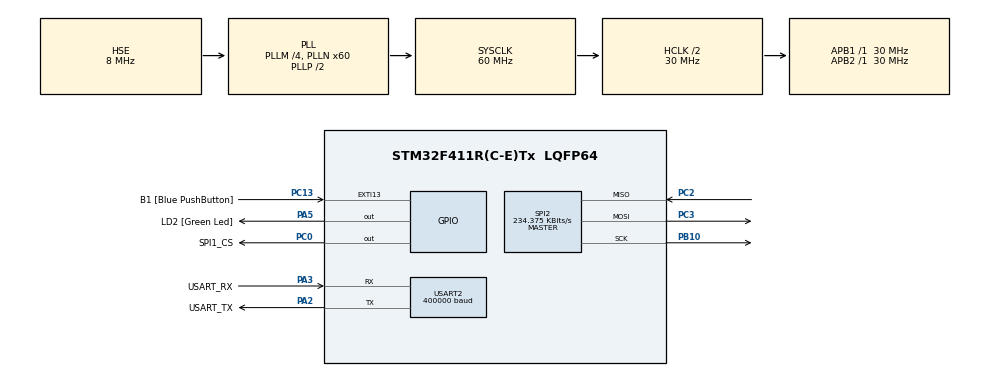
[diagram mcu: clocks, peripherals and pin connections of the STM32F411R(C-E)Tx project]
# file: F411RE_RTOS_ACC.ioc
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Dma.Request0=SPI2_RX
Dma.Request1=SPI2_TX
Dma.SPI2_RX.0.Direction=DMA_PERIPH_TO_MEMORY
Dma.SPI2_RX.0.FIFOMode=DMA_FIFOMODE_DISABLE
Dma.SPI2_RX.0.Instance=DMA1_Stream3
Dma.SPI2_RX.0.MemDataAlignment=DMA_MDATAALIGN_BYTE
Dma.SPI2_RX.0.MemInc=DMA_MINC_ENABLE
Dma.SPI2_RX.0.Mode=DMA_NORMAL
Dma.SPI2_RX.0.PeriphDataAlignment=DMA_PDATAALIGN_BYTE
Dma.SPI2_RX.0.PeriphInc=DMA_PINC_DISABLE
Dma.SPI2_RX.0.Priority=DMA_PRIORITY_LOW
Dma.SPI2_TX.1.Direction=DMA_MEMORY_TO_PERIPH
Dma.SPI2_TX.1.FIFOMode=DMA_FIFOMODE_DISABLE
Dma.SPI2_TX.1.Instance=DMA1_Stream4
Dma.SPI2_TX.1.MemDataAlignment=DMA_MDATAALIGN_BYTE
Dma.SPI2_TX.1.MemInc=DMA_MINC_ENABLE
Dma.SPI2_TX.1.Mode=DMA_NORMAL
Dma.SPI2_TX.1.PeriphDataAlignment=DMA_PDATAALIGN_BYTE
Dma.SPI2_TX.1.PeriphInc=DMA_PINC_DISABLE
Dma.SPI2_TX.1.Priority=DMA_PRIORITY_LOW
FREERTOS.BinarySemaphores01=sem_SPI_DMA,Dynamic,NULL;sem_processing,Dynamic,NULL;sem_sampling,Dynamic,NULL
FREERTOS.Tasks01=mainTask,24,512,taskMain,Default,NULL,Dynamic,NULL,NULL;sampling,8,512,samplingTask,Default,NULL,Dynamic,NULL,NULL
FREERTOS.configUSE_NEWLIB_REENTRANT=1
Mcu.Family=STM32F4
Mcu.Name=STM32F411R(C-E)Tx
Mcu.Package=LQFP64
NVIC.DMA1_Stream3_IRQn=true\:5\:0\:false\:false\:true\:true\:false\:true\:true
NVIC.DMA1_Stream4_IRQn=true\:5\:0\:false\:false\:true\:true\:false\:true\:true
NVIC.EXTI15_10_IRQn=true\:5\:0\:false\:false\:true\:true\:true\:true\:true
NVIC.PriorityGroup=NVIC_PRIORITYGROUP_4
NVIC.TIM1_UP_TIM10_IRQn=true\:5\:0\:false\:false\:true\:true\:true\:true\:true
PA13.GPIO_Label=TMS
PA13.Mode=Serial_Wire
PA13.Signal=SYS_JTMS-SWDIO
PA14.GPIO_Label=TCK
PA14.Mode=Serial_Wire
PA14.Signal=SYS_JTCK-SWCLK
PA2.GPIO_Label=USART_TX
PA2.Mode=Asynchronous
PA2.Signal=USART2_TX
PA3.GPIO_Label=USART_RX
PA3.Mode=Asynchronous
PA3.Signal=USART2_RX
PA5.GPIO_Label=LD2 [Green Led]
PA5.Signal=GPIO_Output
PB10.Mode=Full_Duplex_Master
PB10.Signal=SPI2_SCK
PB3.GPIO_Label=SWO
PB3.Signal=SYS_JTDO-SWO
PC0.GPIO_Label=SPI1_CS
PC0.Signal=GPIO_Output
PC13-ANTI_TAMP.GPIO_Label=B1 [Blue PushButton]
PC13-ANTI_TAMP.GPIO_ModeDefaultEXTI=GPIO_MODE_IT_FALLING
PC13-ANTI_TAMP.Signal=GPXTI13
PC14-OSC32_IN.Mode=LSE-External-Oscillator
PC14-OSC32_IN.Signal=RCC_OSC32_IN
PC15-OSC32_OUT.Mode=LSE-External-Oscillator
PC15-OSC32_OUT.Signal=RCC_OSC32_OUT
PC2.Mode=Full_Duplex_Master
PC2.Signal=SPI2_MISO
PC3.Mode=Full_Duplex_Master
PC3.Signal=SPI2_MOSI
PH0\ -\ OSC_IN.Mode=HSE-External-Clock-Source
PH0\ -\ OSC_IN.Signal=RCC_OSC_IN
PH1\ -\ OSC_OUT.Mode=HSE-External-Clock-Source
PH1\ -\ OSC_OUT.Signal=RCC_OSC_OUT
ProjectManager.HeapSize=0x200
ProjectManager.StackSize=0x400
ProjectManager.TargetToolchain=STM32CubeIDE
RCC.48MHZClocksFreq_Value=30000000
RCC.AHBCLKDivider=RCC_SYSCLK_DIV2
RCC.AHBFreq_Value=30000000
RCC.APB1Freq_Value=30000000
RCC.APB1TimFreq_Value=30000000
RCC.APB2Freq_Value=30000000
RCC.APB2TimFreq_Value=30000000
RCC.CortexFreq_Value=30000000
RCC.FLatency-AdvancedSettings=FLASH_LATENCY_0
RCC.HCLKFreq_Value=30000000
RCC.HSE_VALUE=8000000
RCC.HSI_VALUE=16000000
RCC.PLLM=4
RCC.PLLN=60
RCC.PLLSourceVirtual=RCC_PLLSOURCE_HSE
RCC.SYSCLKFreq_VALUE=60000000
RCC.SYSCLKSource=RCC_SYSCLKSOURCE_PLLCLK
RCC.VCOOutputFreq_Value=120000000
SPI2.BaudRatePrescaler=SPI_BAUDRATEPRESCALER_128
SPI2.CalculateBaudRate=234.375 KBits/s
SPI2.Direction=SPI_DIRECTION_2LINES
SPI2.Mode=SPI_MODE_MASTER
SPI2.VirtualType=VM_MASTER
TIM10.AutoReloadPreload=TIM_AUTORELOAD_PRELOAD_ENABLE
TIM10.Period=58593
TIM10.Prescaler=0
USART2.BaudRate=400000
USART2.VirtualMode=VM_ASYNC
VP_FREERTOS_VS_CMSIS_V2.Mode=CMSIS_V2
VP_TIM10_VS_ClockSourceINT.Mode=Enable_Timer
board=NUCLEO-F411RE

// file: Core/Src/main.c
/* USER CODE BEGIN Header */
/**
  ******************************************************************************
  * @file           : main.c
  * @brief          : Main program body
  ******************************************************************************
  * @attention
  *
  * Copyright (c) 2023 STMicroelectronics.
  * All rights reserved.
  *
  * This software is licensed under terms that can be found in the LICENSE file
  * in the root directory of this software component.
  * If no LICENSE file comes with this software, it is provided AS-IS.
  *
  ******************************************************************************
  */
/* USER CODE END Header */
#include "main.h"
#include "cmsis_os.h"

/* USER CODE BEGIN Includes */
#include <stdio.h>
#include <string.h>
#include <stdarg.h>
#include "ADXL355.h"
#include <math.h>
/* USER CODE END Includes */

SPI_HandleTypeDef hspi2;
DMA_HandleTypeDef hdma_spi2_rx;
DMA_HandleTypeDef hdma_spi2_tx;

TIM_HandleTypeDef htim10;

UART_HandleTypeDef huart2;

/* Definitions for mainTask */
osThreadId_t mainTaskHandle;
const osThreadAttr_t mainTask_attributes = {
  .name = "mainTask",
  .stack_size = 512 * 4,
  .priority = (osPriority_t) osPriorityNormal,
};
/* Definitions for sampling */
osThreadId_t samplingHandle;
const osThreadAttr_t sampling_attributes = {
  .name = "sampling",
  .stack_size = 512 * 4,
  .priority = (osPriority_t) osPriorityLow,
};
/* Definitions for sem_SPI_DMA */
osSemaphoreId_t sem_SPI_DMAHandle;
const osSemaphoreAttr_t sem_SPI_DMA_attributes = {
  .name = "sem_SPI_DMA"
};
/* Definitions for sem_processing */
osSemaphoreId_t sem_processingHandle;
const osSemaphoreAttr_t sem_processing_attributes = {
  .name = "sem_processing"
};
/* Definitions for sem_sampling */
osSemaphoreId_t sem_samplingHandle;
const osSemaphoreAttr_t sem_sampling_attributes = {
  .name = "sem_sampling"
};
/* USER CODE BEGIN PV */
uint32_t data_ctr=0;
int32_t data_array[data_len];

/* USER CODE END PV */

void SystemClock_Config(void);
static void MX_GPIO_Init(void);
static void MX_DMA_Init(void);
static void MX_USART2_UART_Init(void);
static void MX_SPI2_Init(void);
static void MX_TIM10_Init(void);
void taskMain(void *argument);
void samplingTask(void *argument);

/* USER CODE BEGIN 0 */
void kappa(const char *fmt, ...)
{
	static char buffer[256];
	va_list args;
	va_start(args, fmt);
	vsnprintf(buffer, sizeof(buffer), fmt, args);
	va_end(args);
	int len = strlen(buffer);
	HAL_UART_Transmit(&huart2, (uint8_t*)buffer, len, -1);
}
/* USER CODE END 0 */

int main(void)
{

  /* MCU Configuration--------------------------------------------------------*/

  /* Reset of all peripherals, Initializes the Flash interface and the Systick. */
  HAL_Init();

  /* Configure the system clock */
  SystemClock_Config();

  /* Initialize all configured peripherals */
  MX_GPIO_Init();
  MX_DMA_Init();
  MX_USART2_UART_Init();
  MX_SPI2_Init();
  MX_TIM10_Init();

  /* Init scheduler */
  osKernelInitialize();

  /* Create the semaphores(s) */
  /* creation of sem_SPI_DMA */
  sem_SPI_DMAHandle = osSemaphoreNew(1, 0, &sem_SPI_DMA_attributes);

  /* creation of sem_processing */
  sem_processingHandle = osSemaphoreNew(1, 0, &sem_processing_attributes);

  /* creation of sem_sampling */
  sem_samplingHandle = osSemaphoreNew(1, 0, &sem_sampling_attributes);

  /* Create the thread(s) */
  /* creation of mainTask */
  mainTaskHandle = osThreadNew(taskMain, NULL, &mainTask_attributes);

  /* creation of sampling */
  samplingHandle = osThreadNew(samplingTask, NULL, &sampling_attributes);

  /* Start scheduler */
  osKernelStart();

  /* We should never get here as control is now taken by the scheduler */

  /* Infinite loop */
  while (1)
  {

  }
}

void SystemClock_Config(void)
{
  RCC_OscInitTypeDef RCC_OscInitStruct = {0};
  RCC_ClkInitTypeDef RCC_ClkInitStruct = {0};

  /** Configure the main internal regulator output voltage
  */
  __HAL_RCC_PWR_CLK_ENABLE();
  __HAL_PWR_VOLTAGESCALING_CONFIG(PWR_REGULATOR_VOLTAGE_SCALE1);

  /** Initializes the RCC Oscillators according to the specified parameters
  * in the RCC_OscInitTypeDef structure.
  */
  RCC_OscInitStruct.OscillatorType = RCC_OSCILLATORTYPE_HSE;
  RCC_OscInitStruct.HSEState = RCC_HSE_BYPASS;
  RCC_OscInitStruct.PLL.PLLState = RCC_PLL_ON;
  RCC_OscInitStruct.PLL.PLLSource = RCC_PLLSOURCE_HSE;
  RCC_OscInitStruct.PLL.PLLM = 4;
  RCC_OscInitStruct.PLL.PLLN = 60;
  RCC_OscInitStruct.PLL.PLLP = RCC_PLLP_DIV2;
  RCC_OscInitStruct.PLL.PLLQ = 4;
  if (HAL_RCC_OscConfig(&RCC_OscInitStruct) != HAL_OK)
  {
    Error_Handler();
  }

  /** Initializes the CPU, AHB and APB buses clocks
  */
  RCC_ClkInitStruct.ClockType = RCC_CLOCKTYPE_HCLK|RCC_CLOCKTYPE_SYSCLK
                              |RCC_CLOCKTYPE_PCLK1|RCC_CLOCKTYPE_PCLK2;
  RCC_ClkInitStruct.SYSCLKSource = RCC_SYSCLKSOURCE_PLLCLK;
  RCC_ClkInitStruct.AHBCLKDivider = RCC_SYSCLK_DIV2;
  RCC_ClkInitStruct.APB1CLKDivider = RCC_HCLK_DIV1;
  RCC_ClkInitStruct.APB2CLKDivider = RCC_HCLK_DIV1;

  if (HAL_RCC_ClockConfig(&RCC_ClkInitStruct, FLASH_LATENCY_0) != HAL_OK)
  {
    Error_Handler();
  }
}

static void MX_SPI2_Init(void)
{

  /* SPI2 parameter configuration*/
  hspi2.Instance = SPI2;
  hspi2.Init.Mode = SPI_MODE_MASTER;
  hspi2.Init.Direction = SPI_DIRECTION_2LINES;
  hspi2.Init.DataSize = SPI_DATASIZE_8BIT;
  hspi2.Init.CLKPolarity = SPI_POLARITY_LOW;
  hspi2.Init.CLKPhase = SPI_PHASE_1EDGE;
  hspi2.Init.NSS = SPI_NSS_SOFT;
  hspi2.Init.BaudRatePrescaler = SPI_BAUDRATEPRESCALER_128;
  hspi2.Init.FirstBit = SPI_FIRSTBIT_MSB;
  hspi2.Init.TIMode = SPI_TIMODE_DISABLE;
  hspi2.Init.CRCCalculation = SPI_CRCCALCULATION_DISABLE;
  hspi2.Init.CRCPolynomial = 10;
  if (HAL_SPI_Init(&hspi2) != HAL_OK)
  {
    Error_Handler();
  }

}

static void MX_TIM10_Init(void)
{

  htim10.Instance = TIM10;
  htim10.Init.Prescaler = 0;
  htim10.Init.CounterMode = TIM_COUNTERMODE_UP;
  htim10.Init.Period = 58593;
  htim10.Init.ClockDivision = TIM_CLOCKDIVISION_DIV1;
  htim10.Init.AutoReloadPreload = TIM_AUTORELOAD_PRELOAD_ENABLE;
  if (HAL_TIM_Base_Init(&htim10) != HAL_OK)
  {
    Error_Handler();
  }

}

static void MX_USART2_UART_Init(void)
{

  huart2.Instance = USART2;
  huart2.Init.BaudRate = 400000;
  huart2.Init.WordLength = UART_WORDLENGTH_8B;
  huart2.Init.StopBits = UART_STOPBITS_1;
  huart2.Init.Parity = UART_PARITY_NONE;
  huart2.Init.Mode = UART_MODE_TX_RX;
  huart2.Init.HwFlowCtl = UART_HWCONTROL_NONE;
  huart2.Init.OverSampling = UART_OVERSAMPLING_16;
  if (HAL_UART_Init(&huart2) != HAL_OK)
  {
    Error_Handler();
  }

}

static void MX_DMA_Init(void)
{

  /* DMA controller clock enable */
  __HAL_RCC_DMA1_CLK_ENABLE();

  /* DMA interrupt init */
  /* DMA1_Stream3_IRQn interrupt configuration */
  HAL_NVIC_SetPriority(DMA1_Stream3_IRQn, 5, 0);
  HAL_NVIC_EnableIRQ(DMA1_Stream3_IRQn);
  /* DMA1_Stream4_IRQn interrupt configuration */
  HAL_NVIC_SetPriority(DMA1_Stream4_IRQn, 5, 0);
  HAL_NVIC_EnableIRQ(DMA1_Stream4_IRQn);

}

static void MX_GPIO_Init(void)
{
  GPIO_InitTypeDef GPIO_InitStruct = {0};

  /* GPIO Ports Clock Enable */
  __HAL_RCC_GPIOC_CLK_ENABLE();
  __HAL_RCC_GPIOH_CLK_ENABLE();
  __HAL_RCC_GPIOA_CLK_ENABLE();
  __HAL_RCC_GPIOB_CLK_ENABLE();

  /*Configure GPIO pin Output Level */
  HAL_GPIO_WritePin(SPI1_CS_GPIO_Port, SPI1_CS_Pin, GPIO_PIN_RESET);

  /*Configure GPIO pin Output Level */
  HAL_GPIO_WritePin(LD2_GPIO_Port, LD2_Pin, GPIO_PIN_RESET);

  /*Configure GPIO pin : B1_Pin */
  GPIO_InitStruct.Pin = B1_Pin;
  GPIO_InitStruct.Mode = GPIO_MODE_IT_FALLING;
  GPIO_InitStruct.Pull = GPIO_NOPULL;
  HAL_GPIO_Init(B1_GPIO_Port, &GPIO_InitStruct);

  /*Configure GPIO pin : SPI1_CS_Pin */
  GPIO_InitStruct.Pin = SPI1_CS_Pin;
  GPIO_InitStruct.Mode = GPIO_MODE_OUTPUT_PP;
  GPIO_InitStruct.Pull = GPIO_NOPULL;
  GPIO_InitStruct.Speed = GPIO_SPEED_FREQ_LOW;
  HAL_GPIO_Init(SPI1_CS_GPIO_Port, &GPIO_InitStruct);

  /*Configure GPIO pin : LD2_Pin */
  GPIO_InitStruct.Pin = LD2_Pin;
  GPIO_InitStruct.Mode = GPIO_MODE_OUTPUT_PP;
  GPIO_InitStruct.Pull = GPIO_NOPULL;
  GPIO_InitStruct.Speed = GPIO_SPEED_FREQ_LOW;
  HAL_GPIO_Init(LD2_GPIO_Port, &GPIO_InitStruct);

  /* EXTI interrupt init*/
  HAL_NVIC_SetPriority(EXTI15_10_IRQn, 5, 0);
  HAL_NVIC_EnableIRQ(EXTI15_10_IRQn);

}

/* USER CODE BEGIN 4 */

void HAL_SPI_TxCpltCallback(SPI_HandleTypeDef *hspi)
{
	osSemaphoreRelease(sem_SPI_DMAHandle);
}

void HAL_SPI_RxCpltCallback(SPI_HandleTypeDef *hspi)
{
	osSemaphoreRelease(sem_SPI_DMAHandle);
}

uint32_t ADXL355_SPI_Read_DMA(uint8_t ui8address) {

	HAL_StatusTypeDef status;
	uint8_t recieveData;
	uint8_t txData;

	txData = (ui8address << 1) | 1 ;

	HAL_GPIO_WritePin(SPI1_CS_GPIO_Port, SPI1_CS_Pin, GPIO_PIN_RESET); //ON

	status = HAL_SPI_Transmit_DMA(&hspi2, &txData, 1);
	osSemaphoreAcquire(sem_SPI_DMAHandle, osWaitForever);

	status = HAL_SPI_Receive_DMA(&hspi2, &recieveData, 1);
	osSemaphoreAcquire(sem_SPI_DMAHandle, osWaitForever);

	HAL_GPIO_WritePin(SPI1_CS_GPIO_Port, SPI1_CS_Pin, GPIO_PIN_SET); //OFF

	if (status == HAL_OK)
		return recieveData;
	else
		printf("\r\nError Reading: Invalid HAL_STATUS\r\n");

	return 255;
}

uint32_t ADXL355_SPI_Read(uint8_t ui8address) {

	HAL_StatusTypeDef status;
	uint8_t recieveData;
	uint8_t txData;

	txData = (ui8address << 1) | 1 ;

	HAL_GPIO_WritePin(SPI1_CS_GPIO_Port, SPI1_CS_Pin, GPIO_PIN_RESET); //ON

	status = HAL_SPI_Transmit (&hspi2, &txData, 1, 100);
	status = HAL_SPI_Receive (&hspi2, &recieveData, 1, 100);

	HAL_GPIO_WritePin(SPI1_CS_GPIO_Port, SPI1_CS_Pin, GPIO_PIN_SET); //OFF

	if (status == HAL_OK)
		return recieveData;
	else
		printf("\r\nError Reading: Invalid HAL_STATUS\r\n");

	return 255;
}

/*
 * @param : ui8address - unsigned 8 bit integer that represents the address we will write to
 * @param : ui8Data - unsigned 8 bit integer that represents the data we will write into the corresponding address
 * @param : enMode - regarding how many bytes of data you will write, i chose to not really use this and hardcoded a
 *                   1 for '1 byte' in every write I ever used
 *
 * This function is a callback for the accelerometer write
 */
void ADXL355_SPI_Write(uint8_t ui8address, uint8_t ui8Data, enWriteData enMode) {

	HAL_StatusTypeDef status;
	uint8_t address;

	address = ((ui8address << 1) & 0xFE);

	HAL_GPIO_WritePin(SPI1_CS_GPIO_Port, SPI1_CS_Pin, GPIO_PIN_RESET); //ON

	status = HAL_SPI_Transmit (&hspi2, &address, 1, 100);
	status = HAL_SPI_Transmit (&hspi2, &ui8Data, 1, 100);

	HAL_GPIO_WritePin(SPI1_CS_GPIO_Port, SPI1_CS_Pin, GPIO_PIN_SET); //OFF

	if (status != HAL_OK)
		printf("\r\nError writing: Invalid HAL STATUS\r\n");
}

int32_t ADXL355_SPI_READ_ACC(uint8_t axis)	//Axis = 0x00 - x, 0x01 - y, 0x02 - z
{
	HAL_StatusTypeDef status;
	uint32_t acc_val_raw3 = 0, acc_val_raw2 = 0, acc_val_raw1 = 0;
	int32_t acc_val = 0;

	switch(axis)
	{
		case 0x00:
			acc_val_raw3 = ADXL355_SPI_Read_DMA(XDATA3);
			acc_val_raw2 = ADXL355_SPI_Read_DMA(XDATA2);
			acc_val_raw1 = ADXL355_SPI_Read_DMA(XDATA1);
		break;

		case 0x01:
			acc_val_raw3 = ADXL355_SPI_Read_DMA(YDATA3);
			acc_val_raw2 = ADXL355_SPI_Read_DMA(YDATA2);
			acc_val_raw1 = ADXL355_SPI_Read_DMA(YDATA1);
		break;

		case 0x02:
			acc_val_raw3 = ADXL355_SPI_Read_DMA(ZDATA3);
			acc_val_raw2 = ADXL355_SPI_Read_DMA(ZDATA2);
			acc_val_raw1 = ADXL355_SPI_Read_DMA(ZDATA1);

			/*acc_val_raw3 = ADXL355_SPI_Read(ZDATA3);
			acc_val_raw2 = ADXL355_SPI_Read(ZDATA2);
			acc_val_raw1 = ADXL355_SPI_Read(ZDATA1);*/
		break;
	}

	acc_val = ADXL355_Acceleration_Data_Conversion(
							((acc_val_raw3<<16) & 0x00FF0000) |
									((acc_val_raw2<<8) & 0x0000FF00) |
											(acc_val_raw1 & 0x000000FF));
	return acc_val;
}

void HAL_GPIO_EXTI_Callback(uint16_t GPIO_Pin)
{
	if(GPIO_Pin == GPIO_PIN_13)
	{
		HAL_NVIC_DisableIRQ(EXTI15_10_IRQn);
		data_ctr = 0;

		HAL_TIM_Base_Start_IT(&htim10);
		kappa("Iniciado\r\n");
	}
}

void HAL_TIM_PeriodElapsedCallback(TIM_HandleTypeDef *htim)
{
	//kappa("Timer\r\n");
	if(data_ctr < data_len)
	{
		osSemaphoreRelease(sem_samplingHandle);

	}else
	{
		HAL_TIM_Base_Stop_IT(&htim10);
		osSemaphoreRelease(sem_processingHandle);
	}
}

/* USER CODE END 4 */

void taskMain(void *argument)
{
  /* USER CODE BEGIN 5 */
	int32_t acc_val;
	float acc_val_flt;
	vTaskDelay(1000);
	kappa("Program started!\r\n");
	ADXL355_Init();
	vTaskDelay(100);
	ADXL355_Start_Sensor();
	/* Infinite loop */
	for(;;)
	{
		osSemaphoreAcquire(sem_processingHandle, osWaitForever);
		for(int ii=0;ii<data_len;ii++)
		{
			acc_val_flt = data_array[ii] / 26214.4;
			kappa("%d.%d\r\n", (int) acc_val_flt, (int) (fmodf(fabs(acc_val_flt), 1.0)*1000));
		}
		kappa("\r\nDone!\r\n");
		__HAL_GPIO_EXTI_CLEAR_IT(GPIO_PIN_13);
		HAL_NVIC_EnableIRQ(EXTI15_10_IRQn);
	}
  /* USER CODE END 5 */
}

void samplingTask(void *argument)
{
  /* USER CODE BEGIN samplingTask */
  /* Infinite loop */
  for(;;)
  {
	  osSemaphoreAcquire(sem_samplingHandle, osWaitForever);
	  HAL_GPIO_TogglePin(LD2_GPIO_Port, LD2_Pin);
	  data_array[data_ctr] = ADXL355_SPI_READ_ACC(2);
	  data_ctr++;
  }
  /* USER CODE END samplingTask */
}

void Error_Handler(void)
{
  __disable_irq();
  while (1)
  {
  }
}
